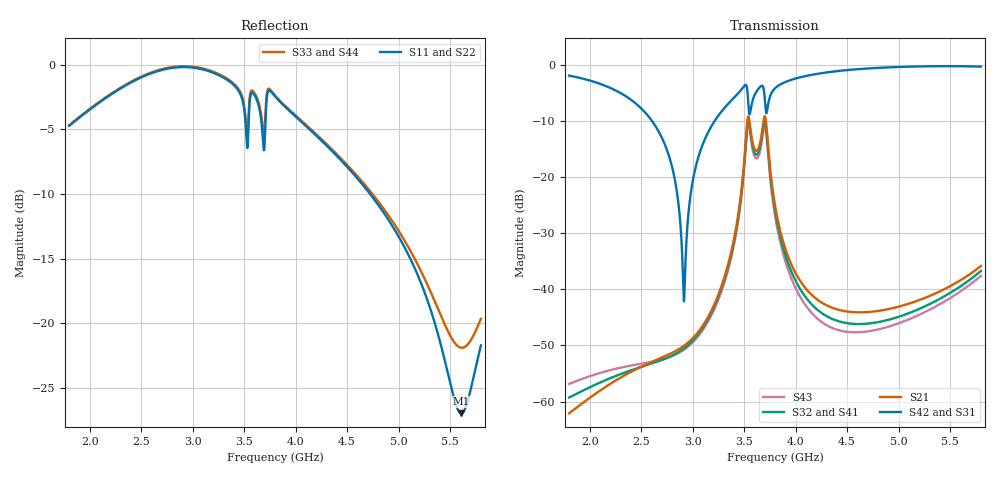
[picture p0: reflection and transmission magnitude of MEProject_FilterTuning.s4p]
! Touchstone file exported from HFSS 2023.2.0
!  File:  U:/Fall 2023/Microwave Engineering/Project/MEProject.aedt
!  Generated:  6:42:46 PM  Dec 06, 2023
!  Design:  FilterTuning
!  Project:  MEProject
!  Setup:  Setup1
!  Solution:  Sweep
! Variables:
!  Beta1 = 0.4378
!  Beta2 = 0.4378
!  F1Y = 0mm
!  FeedOffset = -0.4mm
!  Len = 23.52mm
!  Resonator1H = 12.077056mm
!  Resonator1W = 5.88mm
!  Resonator2W = 5.88mm
!  Resonator3W = 5.88mm
!  Resonator4W = 5.88mm
!  ResonatorsW = 26.08431mm
!  Spacing1 = 0.79453mm
!  Spacing2 = 0.97525mm
!  Spacing3 = 0.79453mm
!  W = 1.78mm
!  W50 = 1.78mm
!  WeakGap = 0mm
!  a = 0.25
# GHz S MA R 50.000000
! Terminal data exported
! Port[1] = 1
! Port[2] = 2
! Port[3] = 3
! Port[4] = 4
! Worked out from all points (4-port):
!   4000 points, 1.8 GHz to 5.8 GHz, reference 50 ohm
!   strongest paths, dB at 1.8 GHz, 2.8 GHz, 3.801 GHz, 4.801 GHz, 5.8 GHz:
!     S42: -1.9, -18.2, -4.2, -0.5, -0.3
!     S31: -1.9, -18.3, -4.2, -0.5, -0.3
!     S21: -62.1, -51.3, -25.1, -43.9, -35.9
!     S32: -59.3, -51.8, -26.0, -45.9, -36.7
!     S41: -59.2, -51.7, -26.0, -46.0, -36.8
!     S43: -56.9, -51.9, -26.9, -47.2, -37.6
!   lowest |S11| = -27.0 dB at 5.609 GHz (marker M1), VSWR 1.09, Z = 50.3 + j4.5 ohm
!   |S11| at or under -10 dB: 4.724 GHz to end of sweep
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1.8  0.5803 141.5  0.0007848 57.6  0.8025 64.6  0.0011 105.4
     0.0007848 57.6  0.5803 141.4  0.001084 -74.4  0.8026 -115.3
     0.8025 64.6  0.001084 -74.4  0.5837 167.3  0.001436 -35.8
     0.0011 105.4  0.8026 -115.3  0.001436 -35.8  0.5835 167.4
2.660215  0.9445 59.5  0.002371 -73.3  0.2635 -10.2  0.002303 -28.6
          0.002371 -73.3  0.9448 59.6  0.00227 151.6  0.2643 169.9
          0.2635 -10.2  0.00227 151.6  0.9516 96.8  0.002317 -167.5
          0.002303 -28.6  0.2643 169.9  0.002317 -167.5  0.9511 96.9
2.914279  0.979 31.7  0.003136 -102.2  0.007693 49.3  0.002998 -63.2
          0.003136 -102.2  0.9796 31.9  0.002967 117.2  0.007945 -139.2
          0.007693 49.3  0.002967 117.2  0.9871 71.5  0.002887 152.8
          0.002998 -63.2  0.007945 -139.2  0.002887 152.8  0.9868 71.5
3.542436  0.5815 -12.7  0.3473 94.7  0.4356 45.2  0.3241 115.3
          0.3473 94.7  0.5791 -11.2  0.324 -64.5  0.4318 -136.1
          0.4356 45.2  0.324 -64.5  0.6281 30.1  0.3027 -43.9
          0.3241 115.3  0.4318 -136.1  0.3027 -43.9  0.6252 30.9
4.242611  0.5128 -91.6  0.007724 121.4  0.8411 24.1  0.006209 137.0
          0.007724 121.4  0.5125 -91.2  0.006247 -42.7  0.8415 -155.8
          0.8411 24.1  0.006247 -42.7  0.5193 -39.3  0.005198 -29.2
          0.006209 137.0  0.8415 -155.8  0.005198 -29.2  0.5191 -39.5
5.608952  0.04492 84.2  0.01215 -19.7  0.9719 -68.1  0.01061 -8.3
          0.01215 -19.7  0.04711 82.1  0.01074 172.4  0.9726 111.9
          0.9719 -68.1  0.01074 172.4  0.08051 -49.4  0.009682 -172.3
          0.01061 -8.3  0.9726 111.9  0.009682 -172.3  0.08132 -49.1
5.8  0.08225 12.8  0.01612 -41.1  0.9645 -80.7  0.01441 -27.2
     0.01612 -41.1  0.08548 13.8  0.01456 153.5  0.9652 99.3
     0.9645 -80.7  0.01456 153.5  0.1041 -20.3  0.01317 171.0
     0.01441 -27.2  0.9652 99.3  0.01317 171.0  0.1055 -20.4
